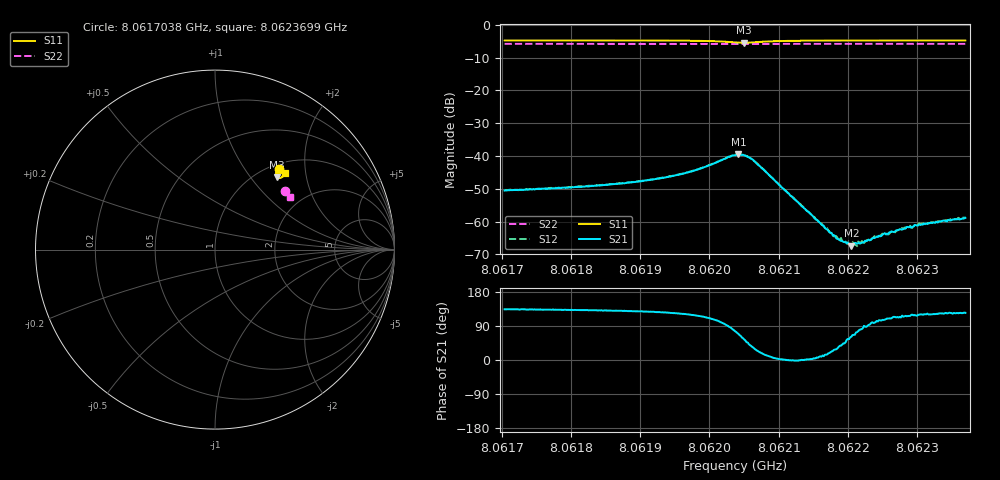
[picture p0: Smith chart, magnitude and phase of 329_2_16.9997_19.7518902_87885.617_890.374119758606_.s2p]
#  HZ  S  RI  R  50.00
! Rohde & Schwarz Vector Network Analyzer
! Rohde-Schwarz,ZNB20-2Port,1311601062101988,3.16
! Created: UTC 3/20/2024, 11:06:50 PM
! freq[Hz]  re:S11  im:S11  re:S21  im:S21  re:S12  im:S12  re:S22  im:S22
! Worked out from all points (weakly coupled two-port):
!   401 points, 8.0617038 GHz to 8.0623699 GHz, reference 50 ohm
!   highest |S21| = -39.53 dB at 8.0620419 GHz (marker M1); lowest = -67.4 dB at 8.0622051 GHz (marker M2)
!   lowest |S11| = -5.5 dB at 8.0620502 GHz (marker M3), VSWR 3.27, Z = 60.7 + j68.3 ohm
!   |S11| at or under -10 dB: nowhere
!   |S22| runs from -5.9 to -5.8 dB; largest |S21 - S12| = 0.00081
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8.06170381e9  0.3588 0.4504  -0.00205 0.00214  -0.00197 0.0023  0.3926 0.328
8.06181539e9  0.3664 0.4441  -0.00226 0.00253  -0.00212 0.0027  0.3969 0.3225
8.061877e9  0.371 0.4396  -0.00246 0.00293  -0.00229 0.00314  0.3993 0.3194
8.06192696e9  0.3751 0.4346  -0.00267 0.00365  -0.00249 0.00382  0.4012 0.3169
8.06198192e9  0.3796 0.424  -0.0028 0.0055  -0.0025 0.0057  0.4032 0.3136
8.06203687e9  0.3619 0.3987  0.00238 0.00999  0.00309 0.0099  0.4039 0.3103
8.06204187e9  0.3557 0.399  0.00383 0.00983  0.00455 0.0096  0.4038 0.3102
8.06205019e9  0.3458 0.404  0.00601 0.00827  0.00655 0.00795  0.4036 0.3101
8.06206019e9  0.3398 0.4153  0.00727 0.00541  0.00751 0.00512  0.404 0.3102
8.06207018e9  0.3407 0.4261  0.0067 0.00294  0.007 0.00257  0.4044 0.3103
8.06214845e9  0.368 0.4384  0.00124 5.12e-05  0.00124 9.22e-06  0.4087 0.3067
8.06218342e9  0.3733 0.4363  0.000483 0.000261  0.000544 0.000241  0.4101 0.3049
8.06219841e9  0.3752 0.4352  0.000278 0.000377  0.000303 0.000348  0.4106 0.3042
8.06220507e9  0.3759 0.4348  0.000206 0.000375  0.000218 0.000405  0.4108 0.3039
8.06221339e9  0.3767 0.4342  0.000127 0.000441  0.000156 0.000391  0.4111 0.3034
8.06221839e9  0.3771 0.434  7.85e-05 0.000457  0.000109 0.000455  0.4114 0.303
8.06222672e9  0.378 0.4335  2.33e-05 0.000502  3.5e-05 0.00051  0.4117 0.3028
8.06224004e9  0.3794 0.4326  -9.96e-05 0.000562  -5.77e-05 0.000588  0.4122 0.3019
8.06226002e9  0.3808 0.4316  -0.000229 0.000647  -0.000216 0.000616  0.413 0.3009
8.06228167e9  0.3827 0.4302  -0.000332 0.000702  -0.000317 0.000745  0.4138 0.2997
8.06230499e9  0.3844 0.429  -0.000448 0.000765  -0.000424 0.00081  0.4146 0.2986
8.06236993e9  0.3888 0.4253  -0.000644 0.000937  -0.000607 0.000974  0.4168 0.2952
